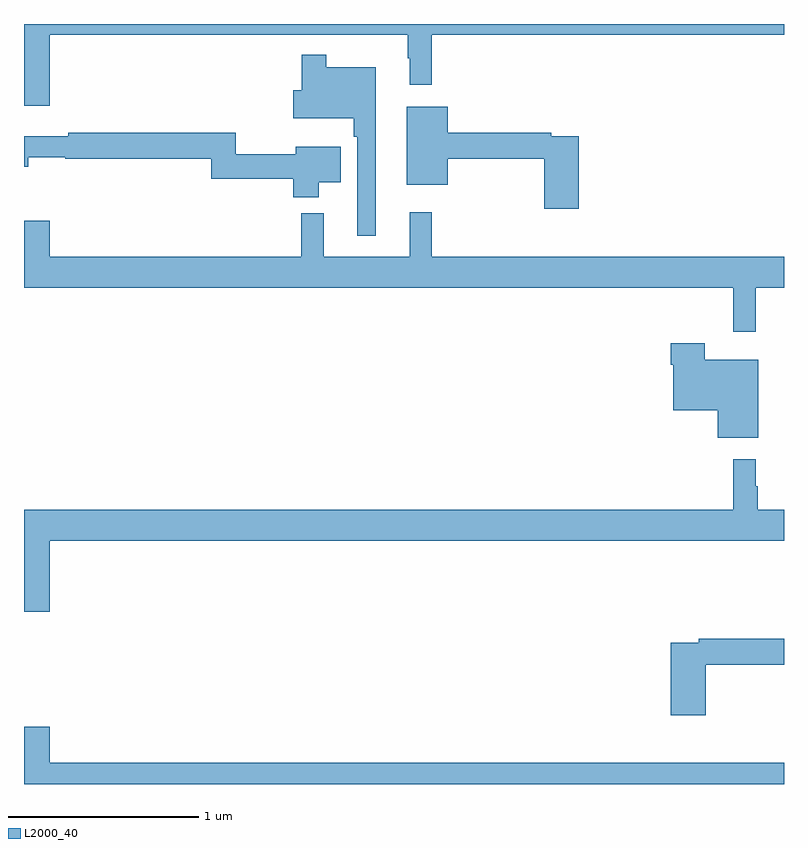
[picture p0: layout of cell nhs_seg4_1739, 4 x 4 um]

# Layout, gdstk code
import gdstk
lib = gdstk.Library(unit=1e-6, precision=1e-09)
def P(c, l, *ps):  # polygons
    for p in ps: c.add(gdstk.Polygon(p, *l))
L2000_40 = (2000, 40)

nhs_seg4_1739 = lib.new_cell('nhs_seg4_1739')
P(nhs_seg4_1739, L2000_40, [(201.136,772.844),(203.019,772.844),(203.019,772.721),(203.03,772.721),(203.03,772.581),(203.147,772.581),(203.147,772.844),(205,772.844),(205,772.9),(201,772.9),(201,772.47),(201.136,772.47)],
  [(202.852,772.672),(202.591,772.672),(202.591,772.738),(202.462,772.738),(202.462,772.551),(202.418,772.551),(202.418,772.403),(202.735,772.403),(202.735,772.307),(202.755,772.307),(202.755,771.786),(202.852,771.786)],
  [(203.921,772.308),(203.774,772.308),(203.774,772.328),(203.23,772.328),(203.23,772.465),(203.015,772.465),(203.015,772.055),(203.23,772.055),(203.23,772.192),(203.738,772.192),(203.738,771.927),(203.921,771.927)],
  [(202.552,772.067),(202.666,772.067),(202.666,772.255),(202.43,772.255),(202.43,772.214),(202.114,772.214),(202.114,772.328),(201.232,772.328),(201.232,772.309),(201,772.309),(201,772.15),(201.022,772.15),(201.022,772.2),(201.218,772.2),(201.218,772.192),(201.985,772.192),(201.985,772.086),(202.418,772.086),(202.418,771.989),(202.552,771.989)],
  [(204.851,771.512),(205,771.512),(205,771.676),(203.147,771.676),(203.147,771.91),(203.03,771.91),(203.03,771.676),(202.577,771.676),(202.577,771.904),(202.459,771.904),(202.459,771.676),(201.136,771.676),(201.136,771.865),(201,771.865),(201,771.512),(204.733,771.512),(204.733,771.279),(204.851,771.279)],
  [(204.865,771.133),(204.582,771.133),(204.582,771.22),(204.404,771.22),(204.404,771.107),(204.416,771.107),(204.416,770.867),(204.65,770.867),(204.65,770.723),(204.865,770.723)],
  [(201.136,770.18),(205,770.18),(205,770.344),(204.862,770.344),(204.862,770.468),(204.85,770.468),(204.85,770.608),(204.733,770.608),(204.733,770.344),(201,770.344),(201,769.806),(201.136,769.806)],
  [(204.587,769.528),(205,769.528),(205,769.664),(204.55,769.664),(204.55,769.644),(204.404,769.644),(204.404,769.263),(204.587,769.263)],
  [(205,769.012),(201.136,769.012),(201.136,769.201),(201,769.201),(201,768.9),(205,768.9)])

lib.write_gds('nhs_seg4_1739.gds')
